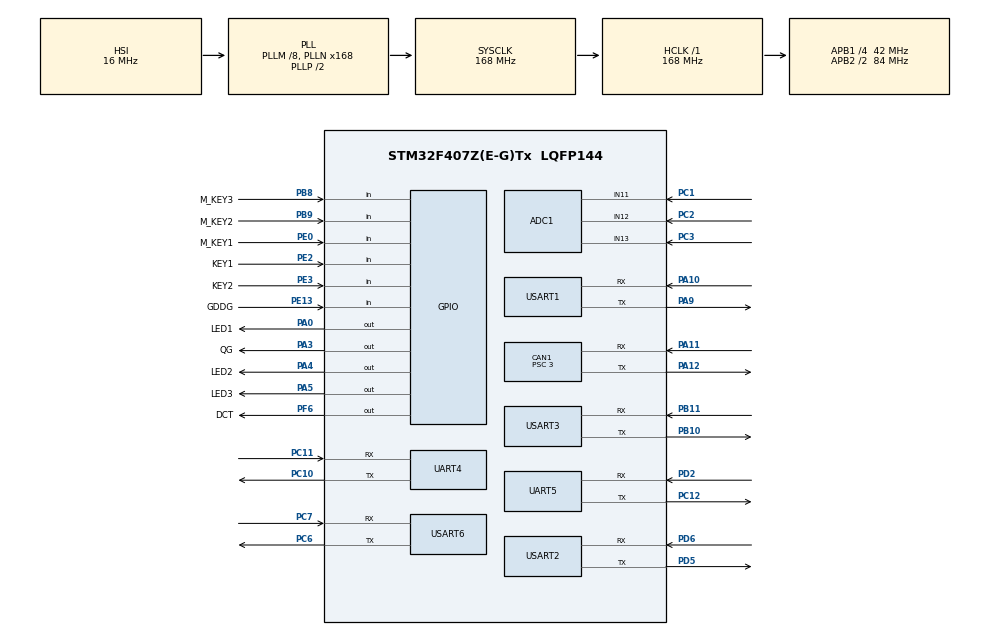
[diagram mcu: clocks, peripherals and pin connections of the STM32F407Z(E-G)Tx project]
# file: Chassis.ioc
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ADC1.Channel-0\#ChannelRegularConversion=ADC_CHANNEL_11
ADC1.Channel-1\#ChannelRegularConversion=ADC_CHANNEL_12
ADC1.Channel-2\#ChannelRegularConversion=ADC_CHANNEL_13
ADC1.ClockPrescaler=ADC_CLOCK_SYNC_PCLK_DIV6
ADC1.ContinuousConvMode=ENABLE
ADC1.DMAContinuousRequests=ENABLE
ADC1.EOCSelection=ADC_EOC_SEQ_CONV
ADC1.InjNumberOfConversion=0
ADC1.NbrOfConversion=3
ADC1.NbrOfConversionFlag=1
ADC1.Rank-0\#ChannelRegularConversion=1
ADC1.Rank-1\#ChannelRegularConversion=2
ADC1.Rank-2\#ChannelRegularConversion=3
ADC1.SamplingTime-0\#ChannelRegularConversion=ADC_SAMPLETIME_56CYCLES
ADC1.SamplingTime-1\#ChannelRegularConversion=ADC_SAMPLETIME_56CYCLES
ADC1.SamplingTime-2\#ChannelRegularConversion=ADC_SAMPLETIME_56CYCLES
ADC1.ScanConvMode=ENABLE
ADC1.master=1
CAN1.ABOM=ENABLE
CAN1.BS1=CAN_BS1_9TQ
CAN1.BS2=CAN_BS2_4TQ
CAN1.CalculateTimeQuantum=71.42857142857143
CAN1.Prescaler=3
CAN1.TXFP=ENABLE
Dma.ADC1.0.Direction=DMA_PERIPH_TO_MEMORY
Dma.ADC1.0.FIFOMode=DMA_FIFOMODE_DISABLE
Dma.ADC1.0.Instance=DMA2_Stream0
Dma.ADC1.0.MemDataAlignment=DMA_MDATAALIGN_WORD
Dma.ADC1.0.MemInc=DMA_MINC_ENABLE
Dma.ADC1.0.Mode=DMA_CIRCULAR
Dma.ADC1.0.PeriphDataAlignment=DMA_PDATAALIGN_WORD
Dma.ADC1.0.PeriphInc=DMA_PINC_DISABLE
Dma.ADC1.0.Priority=DMA_PRIORITY_LOW
Dma.Request0=ADC1
Dma.Request1=USART1_RX
Dma.Request2=USART1_TX
Dma.Request3=USART2_RX
Dma.Request4=USART2_TX
Dma.Request5=USART3_RX
Dma.Request6=USART3_TX
Dma.Request7=UART5_RX
Dma.Request8=UART5_TX
Dma.UART5_RX.7.Direction=DMA_PERIPH_TO_MEMORY
Dma.UART5_RX.7.FIFOMode=DMA_FIFOMODE_DISABLE
Dma.UART5_RX.7.Instance=DMA1_Stream0
Dma.UART5_RX.7.MemDataAlignment=DMA_MDATAALIGN_BYTE
Dma.UART5_RX.7.MemInc=DMA_MINC_ENABLE
Dma.UART5_RX.7.Mode=DMA_CIRCULAR
Dma.UART5_RX.7.PeriphDataAlignment=DMA_PDATAALIGN_BYTE
Dma.UART5_RX.7.PeriphInc=DMA_PINC_DISABLE
Dma.UART5_RX.7.Priority=DMA_PRIORITY_LOW
Dma.UART5_TX.8.Direction=DMA_MEMORY_TO_PERIPH
Dma.UART5_TX.8.FIFOMode=DMA_FIFOMODE_DISABLE
Dma.UART5_TX.8.Instance=DMA1_Stream7
Dma.UART5_TX.8.MemDataAlignment=DMA_MDATAALIGN_BYTE
Dma.UART5_TX.8.MemInc=DMA_MINC_ENABLE
Dma.UART5_TX.8.Mode=DMA_NORMAL
Dma.UART5_TX.8.PeriphDataAlignment=DMA_PDATAALIGN_BYTE
Dma.UART5_TX.8.PeriphInc=DMA_PINC_DISABLE
Dma.UART5_TX.8.Priority=DMA_PRIORITY_LOW
Dma.USART1_RX.1.Direction=DMA_PERIPH_TO_MEMORY
Dma.USART1_RX.1.FIFOMode=DMA_FIFOMODE_DISABLE
Dma.USART1_RX.1.Instance=DMA2_Stream2
Dma.USART1_RX.1.MemDataAlignment=DMA_MDATAALIGN_BYTE
Dma.USART1_RX.1.MemInc=DMA_MINC_ENABLE
Dma.USART1_RX.1.Mode=DMA_CIRCULAR
Dma.USART1_RX.1.PeriphDataAlignment=DMA_PDATAALIGN_BYTE
Dma.USART1_RX.1.PeriphInc=DMA_PINC_DISABLE
Dma.USART1_RX.1.Priority=DMA_PRIORITY_LOW
Dma.USART1_TX.2.Direction=DMA_MEMORY_TO_PERIPH
Dma.USART1_TX.2.FIFOMode=DMA_FIFOMODE_DISABLE
Dma.USART1_TX.2.Instance=DMA2_Stream7
Dma.USART1_TX.2.MemDataAlignment=DMA_MDATAALIGN_BYTE
Dma.USART1_TX.2.MemInc=DMA_MINC_ENABLE
Dma.USART1_TX.2.Mode=DMA_NORMAL
Dma.USART1_TX.2.PeriphDataAlignment=DMA_PDATAALIGN_BYTE
Dma.USART1_TX.2.PeriphInc=DMA_PINC_DISABLE
Dma.USART1_TX.2.Priority=DMA_PRIORITY_LOW
Dma.USART2_RX.3.Direction=DMA_PERIPH_TO_MEMORY
Dma.USART2_RX.3.FIFOMode=DMA_FIFOMODE_DISABLE
Dma.USART2_RX.3.Instance=DMA1_Stream5
Dma.USART2_RX.3.MemDataAlignment=DMA_MDATAALIGN_BYTE
Dma.USART2_RX.3.MemInc=DMA_MINC_ENABLE
Dma.USART2_RX.3.Mode=DMA_NORMAL
Dma.USART2_RX.3.PeriphDataAlignment=DMA_PDATAALIGN_BYTE
Dma.USART2_RX.3.PeriphInc=DMA_PINC_DISABLE
Dma.USART2_RX.3.Priority=DMA_PRIORITY_LOW
Dma.USART2_TX.4.Direction=DMA_MEMORY_TO_PERIPH
Dma.USART2_TX.4.FIFOMode=DMA_FIFOMODE_DISABLE
Dma.USART2_TX.4.Instance=DMA1_Stream6
Dma.USART2_TX.4.MemDataAlignment=DMA_MDATAALIGN_BYTE
Dma.USART2_TX.4.MemInc=DMA_MINC_ENABLE
Dma.USART2_TX.4.Mode=DMA_NORMAL
Dma.USART2_TX.4.PeriphDataAlignment=DMA_PDATAALIGN_BYTE
Dma.USART2_TX.4.PeriphInc=DMA_PINC_DISABLE
Dma.USART2_TX.4.Priority=DMA_PRIORITY_LOW
Dma.USART3_RX.5.Direction=DMA_PERIPH_TO_MEMORY
Dma.USART3_RX.5.FIFOMode=DMA_FIFOMODE_DISABLE
Dma.USART3_RX.5.Instance=DMA1_Stream1
Dma.USART3_RX.5.MemDataAlignment=DMA_MDATAALIGN_BYTE
Dma.USART3_RX.5.MemInc=DMA_MINC_ENABLE
Dma.USART3_RX.5.Mode=DMA_CIRCULAR
Dma.USART3_RX.5.PeriphDataAlignment=DMA_PDATAALIGN_BYTE
Dma.USART3_RX.5.PeriphInc=DMA_PINC_DISABLE
Dma.USART3_RX.5.Priority=DMA_PRIORITY_LOW
Dma.USART3_TX.6.Direction=DMA_MEMORY_TO_PERIPH
Dma.USART3_TX.6.FIFOMode=DMA_FIFOMODE_DISABLE
Dma.USART3_TX.6.Instance=DMA1_Stream3
Dma.USART3_TX.6.MemDataAlignment=DMA_MDATAALIGN_BYTE
Dma.USART3_TX.6.MemInc=DMA_MINC_ENABLE
Dma.USART3_TX.6.Mode=DMA_NORMAL
Dma.USART3_TX.6.PeriphDataAlignment=DMA_PDATAALIGN_BYTE
Dma.USART3_TX.6.PeriphInc=DMA_PINC_DISABLE
Dma.USART3_TX.6.Priority=DMA_PRIORITY_LOW
Mcu.Family=STM32F4
Mcu.Name=STM32F407Z(E-G)Tx
Mcu.Package=LQFP144
NVIC.CAN1_RX0_IRQn=true\:1\:0\:true\:false\:true\:true\:true
NVIC.DMA1_Stream0_IRQn=true\:0\:0\:false\:false\:true\:false\:true
NVIC.DMA1_Stream1_IRQn=true\:0\:0\:false\:false\:true\:false\:true
NVIC.DMA1_Stream3_IRQn=true\:0\:0\:false\:false\:true\:false\:true
NVIC.DMA1_Stream5_IRQn=true\:0\:0\:false\:false\:true\:false\:true
NVIC.DMA1_Stream6_IRQn=true\:0\:0\:false\:false\:true\:false\:true
NVIC.DMA1_Stream7_IRQn=true\:0\:0\:false\:false\:true\:false\:true
NVIC.DMA2_Stream0_IRQn=true\:0\:0\:false\:false\:true\:false\:true
NVIC.DMA2_Stream2_IRQn=true\:0\:0\:false\:false\:true\:false\:true
NVIC.DMA2_Stream7_IRQn=true\:0\:0\:false\:false\:true\:false\:true
NVIC.PriorityGroup=NVIC_PRIORITYGROUP_4
NVIC.UART5_IRQn=true\:1\:0\:true\:false\:true\:true\:true
NVIC.USART1_IRQn=true\:1\:0\:true\:false\:true\:true\:true
NVIC.USART2_IRQn=true\:1\:0\:true\:false\:true\:true\:true
NVIC.USART3_IRQn=true\:1\:0\:true\:false\:true\:true\:true
PA0-WKUP.GPIO_Label=LED1
PA0-WKUP.PinState=GPIO_PIN_SET
PA0-WKUP.Signal=GPIO_Output
PA10.Mode=Asynchronous
PA10.Signal=USART1_RX
PA11.Mode=Master
PA11.Signal=CAN1_RX
PA12.Mode=Master
PA12.Signal=CAN1_TX
PA13.Mode=Serial_Wire
PA13.Signal=SYS_JTMS-SWDIO
PA14.Mode=Serial_Wire
PA14.Signal=SYS_JTCK-SWCLK
PA3.GPIO_Label=QG
PA3.Signal=GPIO_Output
PA4.GPIO_Label=LED2
PA4.PinState=GPIO_PIN_SET
PA4.Signal=GPIO_Output
PA5.GPIO_Label=LED3
PA5.PinState=GPIO_PIN_SET
PA5.Signal=GPIO_Output
PA9.Mode=Asynchronous
PA9.Signal=USART1_TX
PB10.Mode=Asynchronous
PB10.Signal=USART3_TX
PB11.Mode=Asynchronous
PB11.Signal=USART3_RX
PB8.GPIO_Label=M_KEY3
PB8.GPIO_PuPd=GPIO_PULLDOWN
PB8.Signal=GPIO_Input
PB9.GPIO_Label=M_KEY2
PB9.GPIO_PuPd=GPIO_PULLDOWN
PB9.Signal=GPIO_Input
PC1.Signal=ADCx_IN11
PC10.Mode=Asynchronous
PC10.Signal=UART4_TX
PC11.Mode=Asynchronous
PC11.Signal=UART4_RX
PC12.Mode=Asynchronous
PC12.Signal=UART5_TX
PC2.Signal=ADCx_IN12
PC3.Signal=ADCx_IN13
PC6.Mode=Asynchronous
PC6.Signal=USART6_TX
PC7.Mode=Asynchronous
PC7.Signal=USART6_RX
PD2.Mode=Asynchronous
PD2.Signal=UART5_RX
PD5.Mode=Asynchronous
PD5.Signal=USART2_TX
PD6.Mode=Asynchronous
PD6.Signal=USART2_RX
PE0.GPIO_Label=M_KEY1
PE0.GPIO_PuPd=GPIO_PULLDOWN
PE0.Signal=GPIO_Input
PE13.GPIO_Label=GDDG
PE13.Signal=GPIO_Input
PE2.GPIO_Label=KEY1
PE2.GPIO_PuPd=GPIO_PULLUP
PE2.Signal=GPIO_Input
PE3.GPIO_Label=KEY2
PE3.GPIO_PuPd=GPIO_PULLUP
PE3.Signal=GPIO_Input
PF6.GPIO_Label=DCT
PF6.Signal=GPIO_Output
PH0-OSC_IN.Mode=HSE-External-Oscillator
PH0-OSC_IN.Signal=RCC_OSC_IN
PH1-OSC_OUT.Mode=HSE-External-Oscillator
PH1-OSC_OUT.Signal=RCC_OSC_OUT
ProjectManager.HeapSize=0x1000
ProjectManager.StackSize=0x1200
ProjectManager.TargetToolchain=EWARM V8.32
RCC.48MHZClocksFreq_Value=84000000
RCC.AHBFreq_Value=168000000
RCC.APB1CLKDivider=RCC_HCLK_DIV4
RCC.APB1Freq_Value=42000000
RCC.APB1TimFreq_Value=84000000
RCC.APB2CLKDivider=RCC_HCLK_DIV2
RCC.APB2Freq_Value=84000000
RCC.APB2TimFreq_Value=168000000
RCC.CortexFreq_Value=168000000
RCC.HCLKFreq_Value=168000000
RCC.HSE_VALUE=25000000
RCC.HSI_VALUE=16000000
RCC.LSE_VALUE=32768
RCC.PLLM=8
RCC.PLLN=168
RCC.SYSCLKFreq_VALUE=168000000
RCC.SYSCLKSource=RCC_SYSCLKSOURCE_PLLCLK
RCC.VCOOutputFreq_Value=336000000
SH.ADCx_IN11.0=ADC1_IN11,IN11
SH.ADCx_IN12.0=ADC1_IN12,IN12
SH.ADCx_IN13.0=ADC1_IN13,IN13
UART4.VirtualMode=Asynchronous
UART5.VirtualMode=Asynchronous
USART1.VirtualMode=VM_ASYNC
USART2.VirtualMode=VM_ASYNC
USART3.VirtualMode=VM_ASYNC
USART6.VirtualMode=VM_ASYNC
board=custom

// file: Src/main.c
/* USER CODE BEGIN Header */
/**
  ******************************************************************************
  * @file           : main.c
  * @brief          : Main program body
  ******************************************************************************
  * @attention
  *
  * <h2><center>&copy; Copyright (c) 2019 STMicroelectronics.
  * All rights reserved.</center></h2>
  *
  * This software component is licensed by ST under BSD 3-Clause license,
  * the "License"; You may not use this file except in compliance with the
  * License. You may obtain a copy of the License at:
  *                        opensource.org/licenses/BSD-3-Clause
  *
  ******************************************************************************
  */
/* USER CODE END Header */

#include "main.h"
#include "adc.h"
#include "can.h"
#include "dma.h"
#include "usart.h"
#include "gpio.h"

/* USER CODE BEGIN Includes */
#include "simplelib.h"
#include "cmd_func.h"
#include "chassis.h"
#include "laser.h"
#include "configure.h"
#include "lcd.h"
#include "sensor_gpio.h"
#include "kickball.h"
#include "touchdown.h"
#include "motor_driver.h"
#include "robomaster.h"
#include "chassis_handle.h"
#include "led.h"
/* USER CODE END Includes */

/* USER CODE BEGIN PTD */
static int time_1ms_cnt = 0;
Clock clock = {0};
void clock_exe()
{
  clock.sec += clock.m_sec / 100;
  clock.min += clock.sec / 60;
  clock.sec %= 60;
  clock.m_sec %= 100;
}
/* USER CODE END PTD */

void SystemClock_Config(void);

/* USER CODE BEGIN 0 */

// flag用来决定启用哪些模块，响应模块的执行函数会扫描flag中对应位置的值，??0则不执行
Flag flag = {
    0, //main_flag
    0, //chassis_control_flag
    0, //chassis_handle_flag
    0, //chassis_auto_flag
    0, //chassis_laser_flag
    0, //lcd_flag
    0, //m2006_flag
    0, //vesc_flag
    0  //clock_1s_flag
};
float test_value[10] = {0};
int time_5ms_cnt = 0;
int time_20ms_flag = 0;
int time_1s_flag = 0;
int Chassis_MoterDuty[3] = {0};

/* USER CODE END 0 */

int main(void)
{

  /* MCU Configuration--------------------------------------------------------*/

  /* Reset of all peripherals, Initializes the Flash interface and the Systick. */
  HAL_Init();

  /* Configure the system clock */
  SystemClock_Config();

  /* Initialize all configured peripherals */
  MX_GPIO_Init();
  MX_DMA_Init();
  MX_ADC1_Init();
  MX_CAN1_Init();
  MX_UART4_Init();
  MX_UART5_Init();
  MX_USART1_UART_Init();
  MX_USART2_UART_Init();
  MX_USART3_UART_Init();
  MX_USART6_UART_Init();
  /* USER CODE BEGIN 2 */

  simplelib_init(&huart3, &hcan1);
  can_id_init();
  chassis_init();
  motor_init();
  laser_init();
  lcd_init();
  LED_Init();
  flag.main_flag = 1;
  flag.chassis_auto_flag = 0; // 配置底盘运动手动/自动模式
  flag.chassis_handle_flag = 1;
  int duty = 0;
  int speed = 0;

  HAL_GPIO_WritePin(LED2_GPIO_Port, LED2_Pin, GPIO_PIN_SET);
  /* USER CODE END 2 */

  /* Infinite loop */
  /* USER CODE BEGIN WHILE */
  while (1)
  {
    simplelib_run();
    clock_exe(); // 时钟
    // lcd_exe();         // lcd消息
    // gpio_sensor_exe(); // 端口执行函数
    // m2006_exe();       // 大疆电机
    // kickball_exe();    // 踢球系统
    laser_exe();
    vesc_exe();
    Kickball2_EXE();
    chassis_exe(); // 底盘，及坐标更新

    if (time_5ms_cnt == 1)
    {
      time_5ms_cnt = 0;
      // Robomaster_RPMControl(); // 跑速度环`
    }

    if (time_20ms_flag == 1)
    {
      time_20ms_flag = 0;
      // VESC_PrintInfo();
      // Robomaster_PrintInfo(0);
      // Laser_PrintADCValue();
    }

    if (time_1s_flag == 1)
    {
      time_1s_flag = 0;
      Laser_PrintADCValue();
      Laser_PrintPos();
      // Robomaster_PrintInfo(0);
      VESC_PrintInfo();
      // uprintf("trace count:%d\r\n",chassis_status.trace_count);
    }

    // key1按下
    if (HAL_GPIO_ReadPin(KEY1_GPIO_Port, KEY1_Pin) == GPIO_PIN_RESET)
    {
      HAL_Delay(80);
      if (HAL_GPIO_ReadPin(KEY1_GPIO_Port, KEY1_Pin) == GPIO_PIN_RESET)
      {
        uprintf("key1 pressed!\n");
        duty = 0;
        speed = 0;
      }
    }

    // key2按下
    if (HAL_GPIO_ReadPin(KEY2_GPIO_Port, KEY2_Pin) == GPIO_PIN_RESET)
    {
      HAL_Delay(80);
      if (HAL_GPIO_ReadPin(KEY2_GPIO_Port, KEY2_Pin) == GPIO_PIN_RESET)
      {
        duty = (duty + 10) % 80;
        speed = (speed + 50) % 700;
        HAL_GPIO_TogglePin(LED2_GPIO_Port, LED2_Pin);
        Chassis_MoterDuty[0] = Chassis_MoterDuty[1] = Chassis_MoterDuty[2] = duty;
        uprintf("--key2 pressed!\r\n");
        uprintf("--motor duty is %d%%.\r\n", duty);
      }
    }

    /* USER CODE END WHILE */

  }
}

void SystemClock_Config(void)
{
  RCC_OscInitTypeDef RCC_OscInitStruct = {0};
  RCC_ClkInitTypeDef RCC_ClkInitStruct = {0};

  /** Configure the main internal regulator output voltage
  */
  __HAL_RCC_PWR_CLK_ENABLE();
  __HAL_PWR_VOLTAGESCALING_CONFIG(PWR_REGULATOR_VOLTAGE_SCALE1);
  /** Initializes the CPU, AHB and APB busses clocks
  */
  RCC_OscInitStruct.OscillatorType = RCC_OSCILLATORTYPE_HSI;
  RCC_OscInitStruct.HSIState = RCC_HSI_ON;
  RCC_OscInitStruct.HSICalibrationValue = RCC_HSICALIBRATION_DEFAULT;
  RCC_OscInitStruct.PLL.PLLState = RCC_PLL_ON;
  RCC_OscInitStruct.PLL.PLLSource = RCC_PLLSOURCE_HSI;
  RCC_OscInitStruct.PLL.PLLM = 8;
  RCC_OscInitStruct.PLL.PLLN = 168;
  RCC_OscInitStruct.PLL.PLLP = RCC_PLLP_DIV2;
  RCC_OscInitStruct.PLL.PLLQ = 4;
  if (HAL_RCC_OscConfig(&RCC_OscInitStruct) != HAL_OK)
  {
    Error_Handler();
  }
  /** Initializes the CPU, AHB and APB busses clocks
  */
  RCC_ClkInitStruct.ClockType = RCC_CLOCKTYPE_HCLK | RCC_CLOCKTYPE_SYSCLK | RCC_CLOCKTYPE_PCLK1 | RCC_CLOCKTYPE_PCLK2;
  RCC_ClkInitStruct.SYSCLKSource = RCC_SYSCLKSOURCE_PLLCLK;
  RCC_ClkInitStruct.AHBCLKDivider = RCC_SYSCLK_DIV1;
  RCC_ClkInitStruct.APB1CLKDivider = RCC_HCLK_DIV4;
  RCC_ClkInitStruct.APB2CLKDivider = RCC_HCLK_DIV2;

  if (HAL_RCC_ClockConfig(&RCC_ClkInitStruct, FLASH_LATENCY_5) != HAL_OK)
  {
    Error_Handler();
  }
}

/* USER CODE BEGIN 4 */

void inc(void)
{

  if (flag.main_flag == 1)
  {
    time_1ms_cnt++;
    //1000ms
    if (time_1ms_cnt % 1000 == 0)
    {
      flag.clock_1s_flag = 1;
      time_1s_flag = 1;
    }
    //500ms
    if (time_1ms_cnt % 500 == 0)
    {
      HAL_GPIO_TogglePin(LED1_GPIO_Port, LED1_Pin); //led闪烁
    }
    //20ms
    if (time_1ms_cnt % 20 == 0)
    {
      time_20ms_flag = 1;
    }

    //10ms
    if (time_1ms_cnt % 10 == 0)
    {
      clock.m_sec++;
    }

    //5ms
    if (time_1ms_cnt % 5 == 0)
    {
      flag.lcd_flag = 1;
      flag.vesc_flag = 1;
      time_5ms_cnt = 1;

      if (chassis_status.vega_is_ready == 1)
      {
        flag.chassis_control_flag = 1;
      }

      flag.chassis_laser_flag = 1;
      flag.m2006_flag = 1;
    }

    //vega（全场定位）初始化时间设定，要有15s的启动时间?
    if (time_1ms_cnt % 15000 == 0 && chassis_status.vega_is_ready == 0)
    {
      chassis_status.vega_is_ready = 1;
      HAL_GPIO_WritePin(LED2_GPIO_Port, LED2_Pin, GPIO_PIN_SET);
      uprintf("==Vega Init Done!==\r\n");
      led_control(1);
    }
    if (time_1ms_cnt >= 60000) // 防止int类型溢出
    {
      time_1ms_cnt = 0;
    }
  }
}

/* USER CODE END 4 */

void Error_Handler(void)
{
  /* USER CODE BEGIN Error_Handler_Debug */
  /* User can add his own implementation to report the HAL error return state */
  uprintf("##ErrorOccored!##\r\n");
  /* USER CODE END Error_Handler_Debug */
}

/************************ (C) COPYRIGHT STMicroelectronics *****END OF FILE****/
